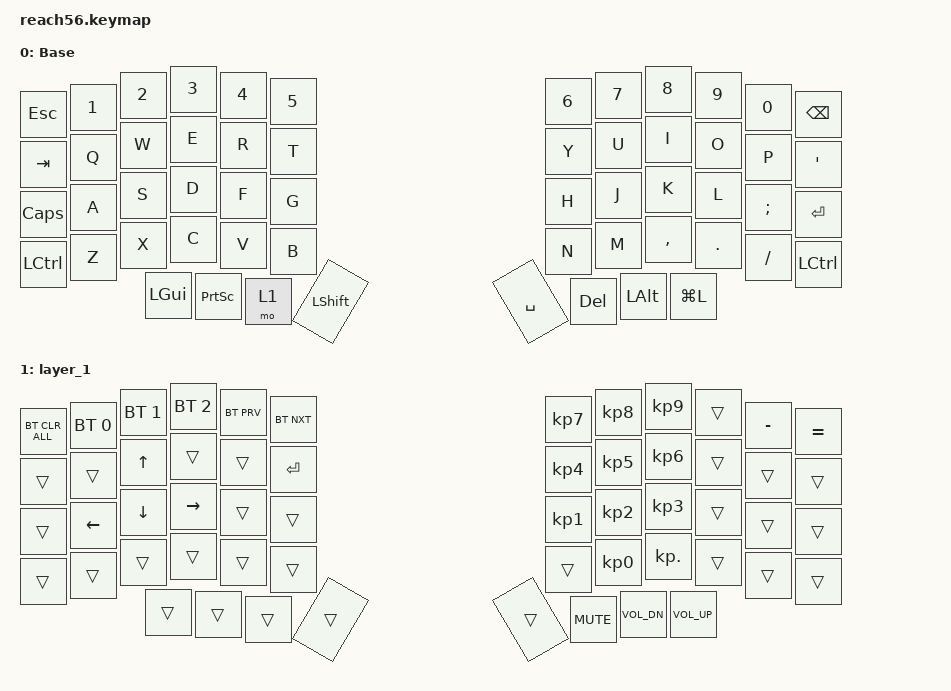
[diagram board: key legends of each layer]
#include <behaviors.dtsi>
#include <dt-bindings/zmk/bt.h>
#include <dt-bindings/zmk/keys.h>

/ {
    keymap {
        compatible = "zmk,keymap";

        default_layer {
            display-name = "Base";
            bindings = <
&kp ESC    &kp N1  &kp N2  &kp N3    &kp N4           &kp N5                        &kp N6   &kp N7    &kp N8     &kp N9   &kp N0     &kp BSPC
&kp TAB    &kp Q   &kp W   &kp E     &kp R            &kp T                         &kp Y    &kp U     &kp I      &kp O    &kp P      &kp SQT
&kp CAPS   &kp A   &kp S   &kp D     &kp F            &kp G                         &kp H    &kp J     &kp K      &kp L    &kp SEMI   &kp RET
&kp LCTRL  &kp Z   &kp X   &kp C     &kp V            &kp B                         &kp N    &kp M     &kp COMMA  &kp DOT  &kp SLASH  &kp LCTRL
                           &kp LGUI  &kp PRINTSCREEN  &mo 1   &kp LSHFT  &kp SPACE  &kp DEL  &kp LALT  &kp LG(L)
            >;
        };

        layer_1 {
            bindings = <
&bt BT_CLR_ALL  &bt BT_SEL 0    &bt BT_SEL 1  &bt BT_SEL 2  &bt BT_PRV  &bt BT_NXT                  &kp KP_NUMBER_7  &kp KP_NUMBER_8  &kp KP_NUMBER_9  &trans  &kp MINUS  &kp EQUAL
&trans          &trans          &kp UP_ARROW  &trans        &trans      &kp ENTER                   &kp KP_NUMBER_4  &kp KP_NUMBER_5  &kp KP_NUMBER_6  &trans  &trans     &trans
&trans          &kp LEFT_ARROW  &kp DOWN      &kp RIGHT     &trans      &trans                      &kp KP_NUMBER_1  &kp KP_NUMBER_2  &kp KP_NUMBER_3  &trans  &trans     &trans
&trans          &trans          &trans        &trans        &trans      &trans                      &trans           &kp KP_NUMBER_0  &kp KP_DOT       &trans  &trans     &trans
                                              &trans        &trans      &trans      &trans  &trans  &kp K_MUTE       &kp C_VOL_DN     &kp C_VOLUME_UP
            >;
        };
    };
};
